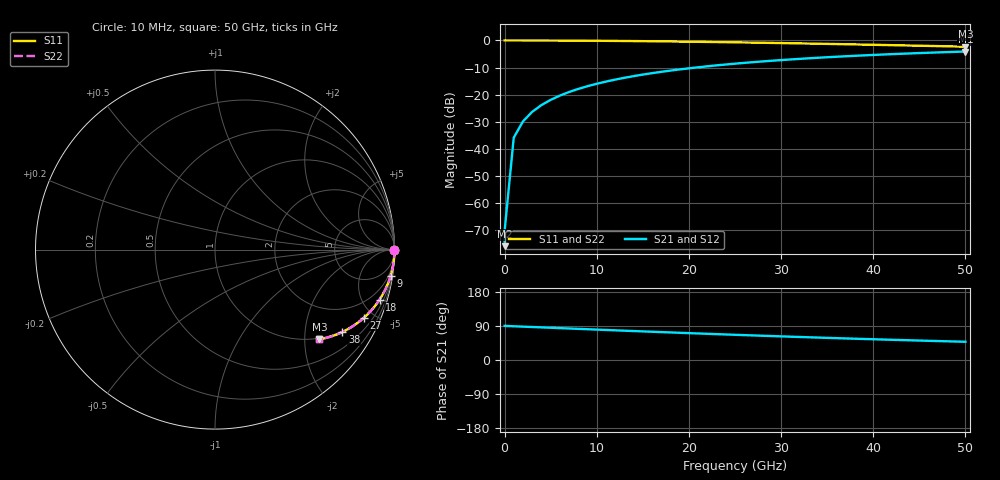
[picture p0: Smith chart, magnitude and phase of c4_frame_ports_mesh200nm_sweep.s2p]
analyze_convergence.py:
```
#!/usr/bin/env python
"""Mesh convergence analysis for the c4_frame_ports MOM capacitor (2-port),
IHP SG13CMOS5L technology.

Reads raw (non-de-embedded) 2-port Touchstone files from results/snp/ for
six fixed-frequency (1 GHz) runs -- uniform mesh cell size 0.2/0.1/0.05 um,
each at Palace finite-element order 2 and order 3 -- plus one separate
0-50 GHz frequency-sweep run at the coarsest mesh (0.2 um, order 2) used
only to show C12 vs. frequency for documentation.

Two convergence metrics are reported, per the study brief:
  - C12, the port1-port2 mutual capacitance, extracted from the raw
    Y-parameters as C12 = -Im(Y12) / (2*pi*f).
  - Delta-S: the linear-magnitude difference of S11/S21/S22 between mesh
    variants (Max|dS| reduces to a single value here since each
    fixed-frequency run has only one frequency point) and in dB at 1 GHz.

No de-embedding is applied (raw S/Y-parameters only), and no Palace mesh
quality metrics (DOF, solve time, error estimates) are reported here --
only what is useful to explain the observed C12/S convergence.
"""
import os
import csv
import numpy as np
import skrf as rf
import matplotlib
matplotlib.use("Agg")
import matplotlib.pyplot as plt

HERE = os.path.dirname(os.path.abspath(__file__))
SNP_DIR = os.path.join(HERE, "snp")
PLOT_DIR = os.path.join(HERE, "plots")

# (key, label, filename, mesh_um, order)
ORDER2_SERIES = [
    ("mesh200_o2", "0.2 um, order 2", "c4_frame_ports_mesh200nm.s2p", 0.2, 2),
    ("mesh100_o2", "0.1 um, order 2", "c4_frame_ports_mesh100nm.s2p", 0.1, 2),
    ("mesh50_o2", "0.05 um, order 2", "c4_frame_ports_mesh50nm.s2p", 0.05, 2),
]
ORDER3_SERIES = [
    ("mesh200_o3", "0.2 um, order 3", "c4_frame_ports_mesh200nm_order3.s2p", 0.2, 3),
    ("mesh100_o3", "0.1 um, order 3", "c4_frame_ports_mesh100nm_order3.s2p", 0.1, 3),
    ("mesh50_o3", "0.05 um, order 3", "c4_frame_ports_mesh50nm_order3.s2p", 0.05, 3),
]
ALL_FIXED = ORDER2_SERIES + ORDER3_SERIES

# mesh label -> (order2 key, order3 key), for the order-comparison table
ORDER_PAIRS = [
    ("0.2 um", "mesh200_o2", "mesh200_o3"),
    ("0.1 um", "mesh100_o2", "mesh100_o3"),
    ("0.05 um", "mesh50_o2", "mesh50_o3"),
]

SWEEP_ENTRY = ("mesh200_sweep", "0.2 um, order 2, 0-50 GHz sweep", "c4_frame_ports_mesh200nm_sweep.s2p")

FIXED_FREQ_GHZ = 1.0
PARAMS = ["S11", "S21", "S22"]


def load(fname):
    path = os.path.join(SNP_DIR, fname)
    if not os.path.isfile(path):
        return None
    return rf.Network(path)


def db(x):
    return 20 * np.log10(np.abs(x))


def s_traces(nw):
    s = nw.s
    return {"S11": s[:, 0, 0], "S21": s[:, 1, 0], "S22": s[:, 1, 1]}


def c12_from_y(nw):
    """Mutual (coupling) capacitance between port 1 and port 2, in farad,
    from the raw Y-parameters: C12 = -Im(Y12) / (2*pi*f)."""
    f = nw.frequency.f
    y12 = nw.y[:, 0, 1]
    return -np.imag(y12) / (2 * np.pi * f)


def fmt(x, digits=4):
    return f"{x:.{digits}f}" if x is not None else "n/a"


def load_series(series):
    loaded = {}
    for key, label, fname, mesh_um, order in series:
        nw = load(fname)
        if nw is None:
            print(f"WARNING: missing {fname}, skipping")
            continue
        loaded[key] = {"label": label, "nw": nw, "mesh_um": mesh_um, "order": order,
                        "s": s_traces(nw), "c12": c12_from_y(nw)[0]}
    return loaded


def main():
    data = load_series(ALL_FIXED)
    if len(data) < 2:
        print("Need at least two fixed-frequency results; exiting.")
        return

    os.makedirs(PLOT_DIR, exist_ok=True)

    # ---------------------------------------------------------------
    # 1) C12 convergence table (both orders), successive-mesh and
    #    vs-finest-mesh, within each order series.
    # ---------------------------------------------------------------
    cap_csv = os.path.join(HERE, "capacitance_convergence.csv")
    with open(cap_csv, "w", newline="") as f:
        writer = csv.writer(f)
        writer.writerow(["Order", "Mesh (um)", "C12 (fF)",
                          "Delta vs next-finer (fF)", "Delta vs next-finer (%)",
                          "Delta vs finest same order (fF)", "Delta vs finest same order (%)"])
        for series in (ORDER2_SERIES, ORDER3_SERIES):
            keys = [k for k, *_ in series if k in data]
            if not keys:
                continue
            finest_key = keys[-1]
            c_finest = data[finest_key]["c12"] * 1e15
            for i, key in enumerate(keys):
                c = data[key]["c12"] * 1e15
                order = data[key]["order"]
                mesh_um = data[key]["mesh_um"]
                if i + 1 < len(keys):
                    c_next = data[keys[i + 1]]["c12"] * 1e15
                    d_next = c_next - c
                    d_next_pct = 100.0 * d_next / c
                else:
                    d_next = None
                    d_next_pct = None
                d_fin = c - c_finest
                d_fin_pct = 100.0 * d_fin / c_finest if c_finest else None
                writer.writerow([order, mesh_um, fmt(c),
                                  fmt(d_next), fmt(d_next_pct, 3),
                                  fmt(d_fin), fmt(d_fin_pct, 3)])
    print(f"Wrote capacitance convergence table: {cap_csv}")

    # ---------------------------------------------------------------
    # 2) Delta-S tables (successive-mesh and vs-finest), within each
    #    order series. Single frequency point -> Max|dS| (linear) and
    #    |dS_dB| at 1 GHz are the same comparison, shown together.
    # ---------------------------------------------------------------
    def s_deltas_csv(path, comparisons, label_col):
        with open(path, "w", newline="") as f:
            writer = csv.writer(f)
            writer.writerow(["Param", label_col, "|dS| (linear)", f"|dS_dB| at {FIXED_FREQ_GHZ:g}GHz"])
            for pname in PARAMS:
                for label, key_a, key_b in comparisons:
                    xa = data[key_a]["s"][pname][0]
                    xb = data[key_b]["s"][pname][0]
                    d_lin = abs(xb - xa)
                    d_db = abs(db(np.array([xb]))[0] - db(np.array([xa]))[0])
                    writer.writerow([pname, label, fmt(d_lin, 6), fmt(d_db, 4)])
        print(f"Wrote: {path}")

    for order_name, series in (("order2", ORDER2_SERIES), ("order3", ORDER3_SERIES)):
        keys = [k for k, *_ in series if k in data]
        if len(keys) < 2:
            continue
        succ = [(f"{data[keys[i]]['label']} -> {data[keys[i+1]]['label']}", keys[i], keys[i + 1])
                for i in range(len(keys) - 1)]
        s_deltas_csv(os.path.join(HERE, f"delta_S_table_{order_name}.csv"), succ, "Comparison")

        finest = keys[-1]
        vs_fin = [(data[k]["label"], k, finest) for k in keys[:-1]]
        s_deltas_csv(os.path.join(HERE, f"delta_S_vs_finest_{order_name}.csv"), vs_fin, "Mesh")

    # ---------------------------------------------------------------
    # 3) Order-2 vs. order-3 comparison, at each mesh size: C12 and S.
    # ---------------------------------------------------------------
    order_csv = os.path.join(HERE, "order_comparison.csv")
    with open(order_csv, "w", newline="") as f:
        writer = csv.writer(f)
        writer.writerow(["Mesh (um)", "C12 order2 (fF)", "C12 order3 (fF)",
                          "Delta C12 (fF)", "Delta C12 (%)"] +
                         [f"|dS_{p}| (linear)" for p in PARAMS] +
                         [f"|dS_{p}_dB|" for p in PARAMS])
        for mesh_label, key2, key3 in ORDER_PAIRS:
            if key2 not in data or key3 not in data:
                continue
            c2 = data[key2]["c12"] * 1e15
            c3 = data[key3]["c12"] * 1e15
            dc = c3 - c2
            dc_pct = 100.0 * dc / c2
            row = [mesh_label, fmt(c2), fmt(c3), fmt(dc), fmt(dc_pct, 3)]
            d_lin_vals, d_db_vals = [], []
            for pname in PARAMS:
                xa = data[key2]["s"][pname][0]
                xb = data[key3]["s"][pname][0]
                d_lin_vals.append(fmt(abs(xb - xa), 6))
                d_db_vals.append(fmt(abs(db(np.array([xb]))[0] - db(np.array([xa]))[0]), 4))
            writer.writerow(row + d_lin_vals + d_db_vals)
    print(f"Wrote order comparison table: {order_csv}")

    # ---------------------------------------------------------------
    # 4) Plot: C12 vs. mesh cell size, order 2 vs. order 3
    # ---------------------------------------------------------------
    fig, ax = plt.subplots(figsize=(6.5, 5))
    for series, color, marker, order_label in (
        (ORDER2_SERIES, "#4c72b0", "o", "order 2"),
        (ORDER3_SERIES, "#c44e52", "s", "order 3"),
    ):
        keys = [k for k, *_ in series if k in data]
        if not keys:
            continue
        xs = [data[k]["mesh_um"] for k in keys]
        ys = [data[k]["c12"] * 1e15 for k in keys]
        ax.plot(xs, ys, color=color, marker=marker, label=order_label)
    ax.set_xlabel("Uniform mesh cell size (um)")
    ax.set_ylabel("C12 (fF)")
    ax.set_title("C12 convergence vs. mesh cell size (1 GHz)")
    ax.invert_xaxis()
    ax.grid(True, alpha=0.3)
    ax.legend()
    fig.tight_layout()
    out_path = os.path.join(PLOT_DIR, "c12_convergence.png")
    fig.savefig(out_path, dpi=150)
    plt.close(fig)
    print(f"Wrote plot: {out_path}")

    # ---------------------------------------------------------------
    # 5) Plot: |S21| and |S11| vs. mesh cell size, order 2 vs. order 3
    #    (documentation aid, not a required mesh-quality metric)
    # ---------------------------------------------------------------
    fig, axes = plt.subplots(1, 2, figsize=(11, 5))
    for ax, pname in zip(axes, ["S11", "S21"]):
        for series, color, marker, order_label in (
            (ORDER2_SERIES, "#4c72b0", "o", "order 2"),
            (ORDER3_SERIES, "#c44e52", "s", "order 3"),
        ):
            keys = [k for k, *_ in series if k in data]
            if not keys:
                continue
            xs = [data[k]["mesh_um"] for k in keys]
            ys = [db(np.array([data[k]["s"][pname][0]]))[0] for k in keys]
            ax.plot(xs, ys, color=color, marker=marker, label=order_label)
        ax.set_xlabel("Uniform mesh cell size (um)")
        ax.set_ylabel(f"|{pname}| (dB)")
        ax.set_title(f"{pname} vs. mesh (1 GHz)")
        ax.invert_xaxis()
        ax.grid(True, alpha=0.3)
        ax.legend()
    fig.tight_layout()
    out_path = os.path.join(PLOT_DIR, "s_param_convergence.png")
    fig.savefig(out_path, dpi=150)
    plt.close(fig)
    print(f"Wrote plot: {out_path}")

    # ---------------------------------------------------------------
    # 6) Sweep-only plot: C12 vs. frequency, 0-50 GHz, coarsest mesh
    #    (documentation only, not part of the mesh convergence metric)
    # ---------------------------------------------------------------
    sweep_key, sweep_label, sweep_fname = SWEEP_ENTRY
    nw_sweep = load(sweep_fname)
    if nw_sweep is not None:
        f_ghz = nw_sweep.frequency.f / 1e9
        c12_ff = c12_from_y(nw_sweep) * 1e15
        fig, ax = plt.subplots(figsize=(7, 5))
        ax.plot(f_ghz, c12_ff, color="#4c72b0")
        ax.set_xlabel("Frequency (GHz)")
        ax.set_ylabel("C12 (fF)")
        ax.set_title(f"C12 vs. frequency ({sweep_label})")
        ax.grid(True, alpha=0.3)
        fig.tight_layout()
        out_path = os.path.join(PLOT_DIR, "c12_vs_frequency.png")
        fig.savefig(out_path, dpi=150)
        plt.close(fig)
        print(f"Wrote plot: {out_path}")

        # also drop the raw numbers as CSV for reference
        sweep_csv = os.path.join(HERE, "c12_vs_frequency.csv")
        with open(sweep_csv, "w", newline="") as f:
            writer = csv.writer(f)
            writer.writerow(["Frequency (GHz)", "C12 (fF)"])
            for fg, cf in zip(f_ghz, c12_ff):
                writer.writerow([fmt(fg, 3), fmt(cf)])
        print(f"Wrote: {sweep_csv}")
    else:
        print(f"WARNING: missing {sweep_fname}, skipping frequency-sweep plot")


if __name__ == "__main__":
    main()
```
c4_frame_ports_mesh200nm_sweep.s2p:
#  GHZ S DB R 50.0
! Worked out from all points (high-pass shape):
!   52 points, 10 MHz to 50 GHz, reference 50 ohm
!   highest |S21| = -4.08 dB at 50 GHz (marker M1); lowest = -75.9 dB at 10 MHz (marker M2)
!   |S21| within 3 dB of the highest: 30.72 GHz to end of sweep
!   lowest |S11| = -2.3 dB at 50 GHz (marker M3), VSWR 7.58, Z = 48.4 - j118 ohm
!   |S11| at or under -10 dB: nowhere
!   |S22| runs from -2.3 to 0.0 dB; largest |S21 - S12| = 8.7e-14
!   S11 on the Smith chart (normalised r, x): 10 MHz: open; 9 GHz: 1, -13; 18 GHz: 0.97, -6.60; 27 GHz: 0.97, -4.39; 38 GHz: 0.97, -3.11; 50 GHz: 0.97, -2.35
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0.01  -0.00 -0.0  -75.87 90.0  -75.87 90.0  -0.00 -0.0
0.02  -0.00 -0.0  -69.85 90.0  -69.85 90.0  -0.00 -0.0
1  -0.00 -1.0  -35.87 89.0  -35.87 89.0  -0.00 -1.0
2  -0.01 -1.9  -29.86 88.0  -29.86 88.0  -0.01 -1.9
4  -0.02 -3.8  -23.85 86.1  -23.85 86.1  -0.02 -3.8
9  -0.10 -8.6  -16.87 81.2  -16.87 81.2  -0.10 -8.6
18  -0.37 -16.9  -11.11 72.7  -11.11 72.7  -0.37 -16.9
26  -0.74 -23.7  -8.27 65.7  -8.27 65.7  -0.74 -23.7
27  -0.79 -24.6  -8.00 64.8  -8.00 64.8  -0.79 -24.5
38  -1.46 -32.9  -5.66 56.2  -5.66 56.2  -1.46 -32.9
50  -2.30 -40.7  -4.08 48.1  -4.08 48.1  -2.30 -40.7
